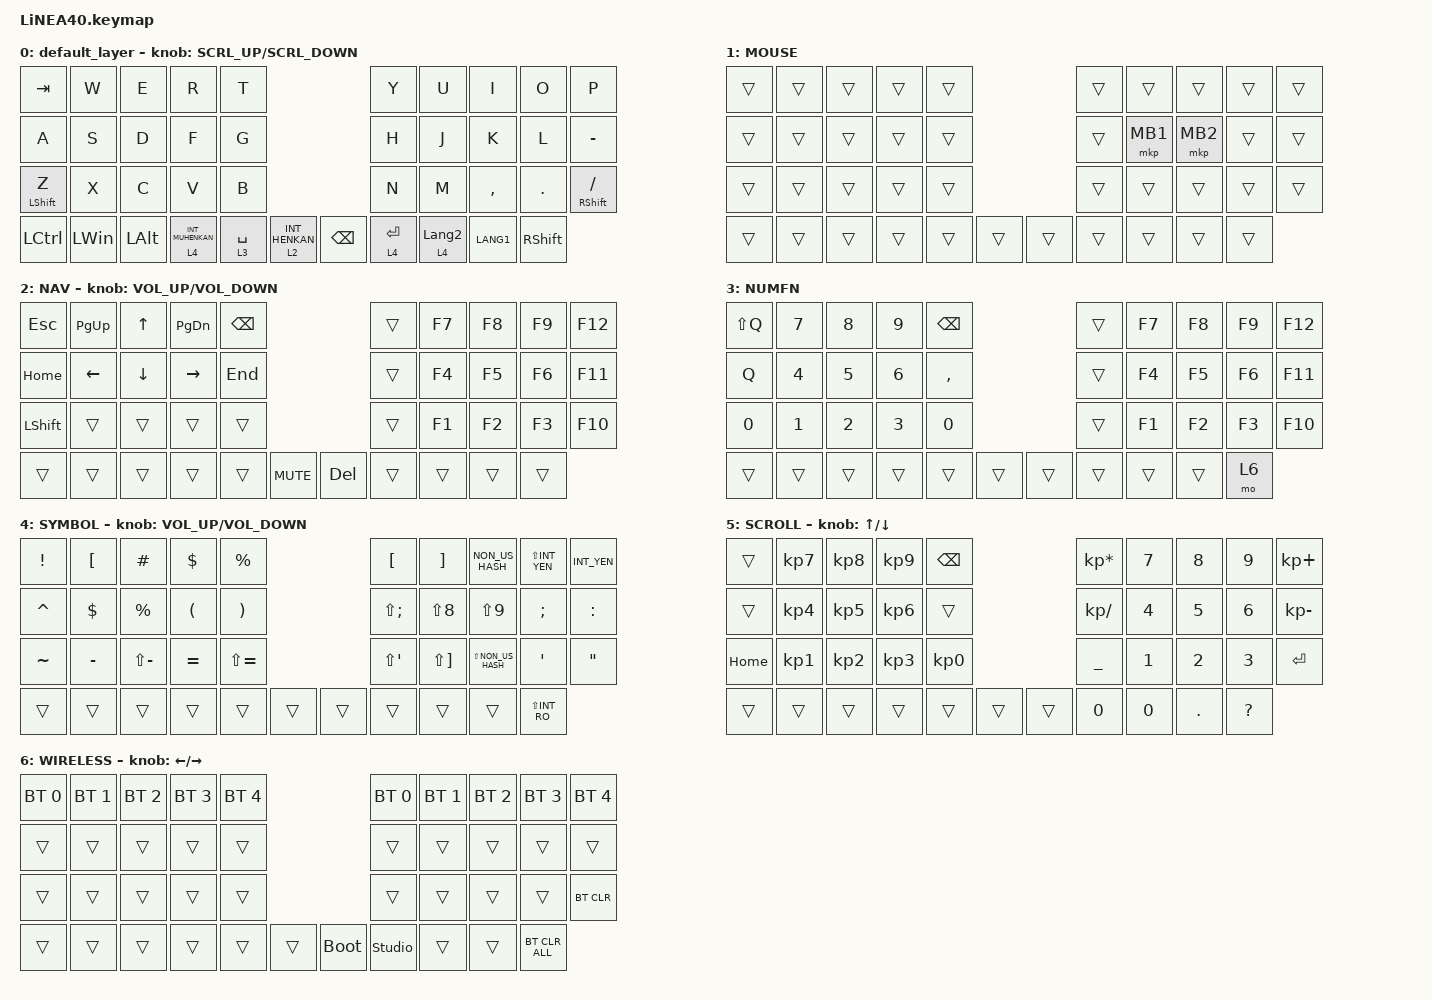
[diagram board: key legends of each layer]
#define ZMK_POINTING_DEFAULT_SCRL_VAL 150

#include <dt-bindings/zmk/input_transform.h>
#include <input/processors.dtsi>
#include <zephyr/dt-bindings/input/input-event-codes.h>
#include <behaviors.dtsi>
#include <dt-bindings/zmk/bt.h>
#include <dt-bindings/zmk/keys.h>
#include <dt-bindings/zmk/pointing.h>

#define MOUSE 1
#define NAV 2
#define NUMFN 3
#define SYMBOL 4
#define SCROLL 5
#define WIRELESS 6

//mouse cursol

&mmv {
    delay-ms = <20>;
    trigger-period-ms = <5>;
    time-to-max-speed-ms = <100>;
    acceleration-exponent = <2>;
};

//mouse scroll

&msc {
    delay-ms = <3>;
    trigger-period-ms = <3>;
    time-to-max-speed-ms = <100>;
    acceleration-exponent = <0>;
};

/ {
    input_processors {
        zip_wheel_scaler: zip_wheel_scaler {
            compatible = "zmk,input-processor-scaler";
            #input-processor-cells = <2>;
            type = <INPUT_EV_REL>;
            codes = <INPUT_REL_WHEEL>;
            track-remainders;
        };
    };
};

&msc_input_listener {
    speed_up {
        layers = <SYMBOL>;
        input-processors = <&zip_wheel_scaler 3 1>; //スクロールを3倍速にする
    };
};

&trackball_listener {
    scroller {
        layers = <SCROLL>;
        input-processors =
            <&zip_xy_transform INPUT_TRANSFORM_Y_INVERT>,
            //スクロール方向を逆転,,,,,,,,,
            <&zip_xy_to_scroll_mapper>;
    };
};

/ {
    combos {
        compatible = "zmk,combos";

        ZenkakuHankaku {
            bindings = <&kp GRAVE>;
            key-positions = <11 12>;
        };

        DeleteKey {
            bindings = <&kp DEL>;
            key-positions = <7 8>;
        };

        InsertKey {
            bindings = <&kp INS>;
            key-positions = <6 7>;
        };

        CenterClick {
            bindings = <&mkp MB3>;
            key-positions = <17 16>;
        };

        RightClick {
            bindings = <&mkp MB2>;
            key-positions = <18 17>;
        };

        PrevClick {
            bindings = <&mkp MB4>;
            key-positions = <27 28>;
        };

        ClickNext {
            bindings = <&mkp MB5>;
            key-positions = <26 27>;
        };
    };

    behaviors {
        hm: homerow_mod {
            compatible = "zmk,behavior-hold-tap";
            #binding-cells = <2>;
            tapping-term-ms = <200>;
            quick-tap-ms = <175>;
            require-prior-idle-ms = <150>;
            flavor = "balanced";
            bindings = <&kp>, <&kp>;
        };

        re_kp: sensor_rotate_kp {
            compatible = "zmk,behavior-sensor-rotate-var";
            #sensor-binding-cells = <2>;
            bindings = <&kp>, <&kp>;
        };

        mouse_scrl: mouse_wheel_scrl {
            compatible = "zmk,behavior-sensor-rotate-var";
            #sensor-binding-cells = <2>;
            bindings = <&msc>, <&msc>;

            tap-ms = <20>;
        };
    };

    keymap {
        compatible = "zmk,keymap";

        default_layer {
            bindings = <
&kp TAB           &kp W         &kp E         &kp R               &kp T                                           &kp Y        &kp U  &kp I             &kp O      &kp P
&kp A             &kp S         &kp D         &kp F               &kp G                                           &kp H        &kp J  &kp K             &kp L      &kp MINUS
&hm LEFT_SHIFT Z  &kp X         &kp C         &kp V               &kp B                                           &kp N        &kp M  &kp COMMA         &kp DOT    &hm RSHIFT SLASH
&kp LCTRL         &kp LEFT_WIN  &kp LEFT_ALT  &lt 4 INT_MUHENKAN  &lt 3 SPACE  &lt 2 INT_HENKAN    &kp BACKSPACE  &lt 4 ENTER         &lt 4 LANGUAGE_2  &kp LANG1  &kp RIGHT_SHIFT
            >;

            sensor-bindings = <&mouse_scrl SCRL_UP SCRL_DOWN>;
        };

        //1

        MOUSE {
            bindings = <
&trans  &trans  &trans  &trans  &trans                    &trans  &trans    &trans    &trans  &trans
&trans  &trans  &trans  &trans  &trans                    &trans  &mkp MB1  &mkp MB2  &trans  &trans
&trans  &trans  &trans  &trans  &trans                    &trans  &trans    &trans    &trans  &trans
&trans  &trans  &trans  &trans  &trans  &trans    &trans  &trans            &trans    &trans  &trans
            >;
        };

        //2

        NAV {
            bindings = <
&kp ESC         &kp PAGE_UP     &kp UP_ARROW    &kp PAGE_DOWN    &kp BACKSPACE                         &trans  &kp F7  &kp F8  &kp F9  &kp F12
&kp HOME        &kp LEFT_ARROW  &kp DOWN_ARROW  &kp RIGHT_ARROW  &kp END                               &trans  &kp F4  &kp F5  &kp F6  &kp F11
&kp LEFT_SHIFT  &trans          &trans          &trans           &trans                                &trans  &kp F1  &kp F2  &kp F3  &kp F10
&trans          &trans          &trans          &trans           &trans         &kp C_MUTE    &kp DEL  &trans          &trans  &trans  &trans
            >;

            sensor-bindings = <&re_kp C_VOL_UP C_VOLUME_DOWN>;
        };

        //3

        NUMFN {
            bindings = <
&kp LS(Q)     &kp NUMBER_7  &kp NUMBER_8  &kp NUMBER_9  &kp BACKSPACE                    &trans  &kp F7  &kp F8  &kp F9  &kp F12
&kp Q         &kp NUMBER_4  &kp NUMBER_5  &kp NUMBER_6  &kp COMMA                        &trans  &kp F4  &kp F5  &kp F6  &kp F11
&kp NUMBER_0  &kp NUMBER_1  &kp NUMBER_2  &kp NUMBER_3  &kp NUMBER_0                     &trans  &kp F1  &kp F2  &kp F3  &kp F10
&trans        &trans        &trans        &trans        &trans         &trans    &trans  &trans          &trans  &trans  &mo 6
            >;
        };

        //4

        SYMBOL {
            bindings = <
&kp EXCLAMATION  &kp LEFT_BRACKET  &kp HASH       &kp DOLLAR            &kp PERCENT                              &kp LEFT_BRACKET      &kp RIGHT_BRACKET      &kp NON_US_HASH      &kp LS(INT_YEN)   &kp INT_YEN
&kp CARET        &kp DOLLAR        &kp PERCENT    &kp LEFT_PARENTHESIS  &kp RIGHT_PARENTHESIS                    &kp LS(SEMICOLON)     &kp LS(N8)             &kp LS(N9)           &kp SEMICOLON     &kp COLON
&kp TILDE        &kp MINUS         &kp LS(MINUS)  &kp EQUAL             &kp LS(EQUAL)                            &kp LS(SINGLE_QUOTE)  &kp LS(RIGHT_BRACKET)  &kp LS(NON_US_HASH)  &kp SINGLE_QUOTE  &kp DOUBLE_QUOTES
&trans           &trans            &trans         &trans                &trans                 &trans    &trans  &trans                                       &trans               &trans            &kp LS(INT_RO)
            >;

            sensor-bindings = <&re_kp C_VOL_UP C_VOLUME_DOWN>;
        };

        //5

        SCROLL {
            bindings = <
&trans    &kp KP_NUMBER_7  &kp KP_N8  &kp KP_N9        &kp BACKSPACE                      &kp KP_MULTIPLY  &kp NUMBER_7  &kp NUMBER_8  &kp NUMBER_9  &kp KP_PLUS
&trans    &kp KP_N4        &kp KP_N5  &kp KP_N6        &trans                             &kp KP_SLASH     &kp NUMBER_4  &kp NUMBER_5  &kp NUMBER_6  &kp KP_MINUS
&kp HOME  &kp KP_N1        &kp KP_N2  &kp KP_NUMBER_3  &kp KP_NUMBER_0                    &kp UNDER        &kp NUMBER_1  &kp NUMBER_2  &kp NUMBER_3  &kp ENTER
&trans    &trans           &trans     &trans           &trans           &trans    &trans  &kp NUMBER_0                   &kp NUMBER_0  &kp DOT       &kp QUESTION
            >;

            sensor-bindings = <&inc_dec_kp UP_ARROW DOWN_ARROW>;
        };

        //6

        WIRELESS {
            bindings = <
&bt BT_SEL 0  &bt BT_SEL 1  &bt BT_SEL 2  &bt BT_SEL 3  &bt BT_SEL 4                         &bt BT_SEL 0    &bt BT_SEL 1  &bt BT_SEL 2  &bt BT_SEL 3  &bt BT_SEL 4
&trans        &trans        &trans        &trans        &trans                               &trans          &trans        &trans        &trans        &trans
&trans        &trans        &trans        &trans        &trans                               &trans          &trans        &trans        &trans        &bt BT_CLR
&trans        &trans        &trans        &trans        &trans        &trans    &bootloader  &studio_unlock                &trans        &trans        &bt BT_CLR_ALL
            >;

            sensor-bindings = <&inc_dec_kp LEFT_ARROW RIGHT_ARROW>;
        };
    };
};
